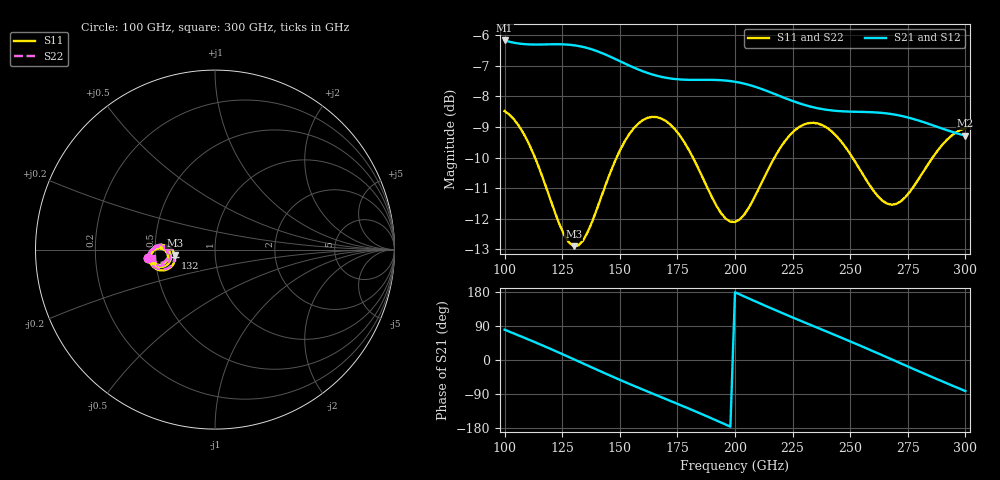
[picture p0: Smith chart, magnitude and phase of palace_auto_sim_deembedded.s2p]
! Created with skrf 1.11.0 (http://scikit-rf.org).
# GHz S DB R 50.0
!freq dBS11 angS11 dBS21 angS21 dBS12 angS12 dBS22 angS22
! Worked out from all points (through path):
!   101 points, 100 GHz to 300 GHz, reference 50 ohm
!   highest |S21| = -6.17 dB at 100 GHz (marker M1); lowest = -9.3 dB at 300 GHz (marker M2)
!   group delay of S21, straight-line fit = 7.26 ps
!   lowest |S11| = -12.9 dB at 130 GHz (marker M3), VSWR 1.59, Z = 31.6 - j2 ohm
!   |S11| at or under -10 dB: 113.2 GHz to 148.6 GHz (35.43 GHz wide, 27.1 % of centre); 181.8 GHz to 217.1 GHz (35.37 GHz wide, 17.7 % of centre); 251 GHz to 285.7 GHz (34.74 GHz wide, 12.9 % of centre)
!   |S22| runs from -12.8 to -8.5 dB; largest |S21 - S12| = 4.9e-14
!   S11 on the Smith chart (normalised r, x): 100 GHz: 0.45, -0.05; 132 GHz: 0.63, -0.06; 300 GHz: 0.48, -0.06
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100  -8.48 -172.8  -6.17 79.9  -6.17 79.9  -8.47 -173.3
108  -9.18 179.3  -6.28 60.0  -6.28 60.0  -9.17 178.7
118  -10.96 175.1  -6.30 34.4  -6.30 34.4  -10.94 174.5
130  -12.89 -172.4  -6.32 2.0  -6.32 2.0  -12.84 -173.1
132  -12.87 -168.9  -6.35 -3.4  -6.35 -3.4  -12.82 -169.7
134  -12.71 -165.6  -6.38 -9.0  -6.38 -9.0  -12.66 -166.4
142  -11.27 -157.8  -6.57 -30.9  -6.57 -30.9  -11.24 -158.8
152  -9.49 -160.3  -6.92 -57.5  -6.92 -57.5  -9.47 -161.4
160  -8.77 -166.8  -7.18 -78.0  -7.18 -78.0  -8.76 -167.8
168  -8.72 -174.1  -7.36 -98.1  -7.36 -98.1  -8.71 -175.1
176  -9.27 179.8  -7.44 -118.2  -7.44 -118.2  -9.26 178.8
186  -10.66 176.9  -7.46 -143.9  -7.46 -143.9  -10.63 175.8
200  -12.10 -171.3  -7.52 178.6  -7.52 178.6  -12.06 -172.7
208  -11.36 -163.3  -7.66 157.0  -7.66 157.0  -11.34 -164.8
218  -9.88 -162.3  -7.94 130.4  -7.94 130.4  -9.88 -163.9
234  -8.86 -172.2  -8.35 89.6  -8.35 89.6  -8.87 -173.8
250  -9.88 179.1  -8.50 49.1  -8.50 49.1  -9.90 177.4
260  -11.07 -179.2  -8.52 23.0  -8.52 23.0  -11.10 179.0
268  -11.54 -172.8  -8.58 1.7  -8.58 1.7  -11.57 -174.6
276  -11.11 -166.3  -8.70 -19.7  -8.70 -19.7  -11.14 -168.2
286  -9.97 -164.4  -8.95 -46.1  -8.95 -46.1  -10.01 -166.3
300  -9.03 -170.5  -9.28 -82.0  -9.28 -82.0  -9.08 -172.5
